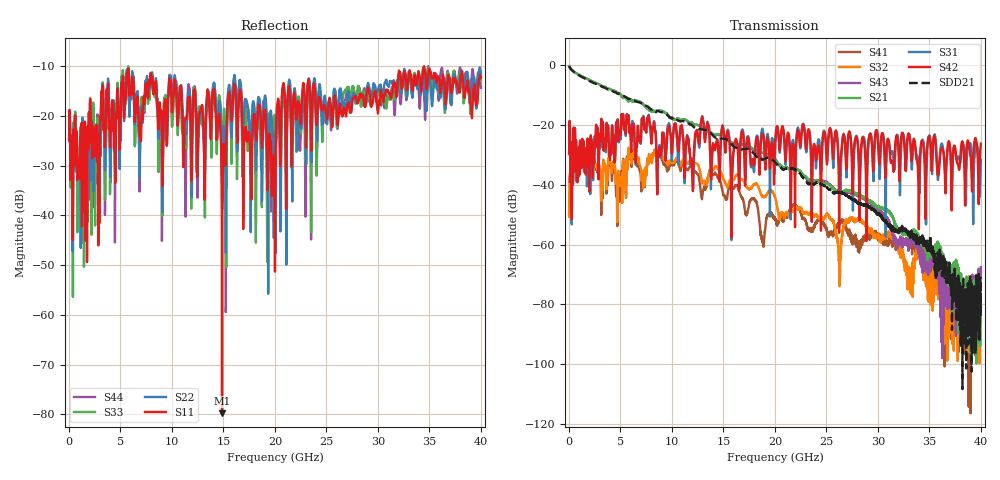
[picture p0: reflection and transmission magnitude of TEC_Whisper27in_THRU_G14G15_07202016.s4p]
! TE Connectivity
! G14G15_THRU
!! PART DESCRIPTION: Whisper 27in Megtron 6 HVLP-HVLP-HVLP Channel Model, bulkhead 2.92mm test points
!! MODEL DESCRIPTION: System 4-port S-parameter
!! MODEL STATUS: Measured
!! MODEL GEOMETRY: Channel Model
!! MODEL FREQUENCY RANGE: DC to 40 GHz in 10 MHz frequency steps
!! MODEL EDGE RATE LIMITATION: 12.5 ps (Using conservative 0.5/Fmax rule of thumb)
!! TIME-DOMAIN TRANSFORM CAUTIONS:
!! 1.) Do not simulate transient edge rates faster than the number listed above.  Edge
!!  rates faster than this number contain significant spectral content at frequencies
!!  above the model's highest frequency.
!! 2.) Even when simulating edge rates that are slower than the number listed above, be
!!  aware that the best time resolution possible with a direct iFFT is (1 / 2Fmax).
!!  As a result, time resolution is typically not adequate for most time-domain
!!  simulations unless tricks such as frequency-domain zero-padding and windowing are
!!  used to minimize leakage and aliasing.
!! 3.) Because the model has a uniform frequency step, a direct iFFT will result in an
!!  impulse that that has a time length given by either (1 / Fstep) or (1 / 2Fstep),
!!  depending on the transform being used.  Care has been taken in selecting the
!!  frequency step to ensure a settled impulse response for the model.  Therefore,
!!  convolution with the model's impulse response should present no issues.  However,
!!  if directly concatenating s-parameter models in the frequency domain a user must
!!  either interpolate necessary interim frequencies or complete impulse response
!!  zero-padding.  Impulse response zero-padding is more difficult, but more accurate.
!! PORT DEFINITIONS:
!! Port  1  ----->  Side A  G14  Side B  <-----  Port  2
!! Port  3  ----->  Side A  G15  Side B  <-----  Port  4
! Point-to-Point link (differential)  !
! Connectors:  !
!  1: STRADA Whisper 3.9mm  !
! Materials:  !
!  Backplane: Megtron-6 HVLP  !
!  Daughtercard: Megtron-6 HVLP  !
! Stack-up:  !
!  Backplane: 20 layers, 190mil thick  !
!  Daughtercard: 14 layers, 110mil thick  !
! Trace Length:  !
!  Backplane: 17in  !
!  Daughtercards: 5in  !
! Trace Width:  !
!  Backplane: 5.75-6.25-5.75 mils  !
!  Daughtercards: 6-9-6 mils  !
! Geometry:  !
!  Backplane: Stripline  !
!  Daughtercards: Stripline  !
! Layer Connections:  !
!  Backplane: Layer 16, counterbored(1-6mil stub)  !
!  Daughtercard: Layer 9, counterbored(1-6mil stub) !
! Freq. Range: 0 GHz - 40 GHz  !
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# hz S ma R 50
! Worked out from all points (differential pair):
!   4000 points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, 10 MHz to 40 GHz, reference 50 ohm
!   strongest paths, dB at 10 MHz, 10.01 GHz, 20.01 GHz, 30.01 GHz, 40 GHz:
!     S42: -29.7, -28.8, -26.8, -26.1, -26.3
!     S31: -29.6, -30.9, -29.3, -24.5, -31.6
!     S21: -0.4, -17.6, -31.1, -47.5, -81.8
!     S43: -0.4, -17.4, -31.6, -48.5, -67.5
!     S32: -50.6, -32.4, -44.3, -57.2, -85.9
!     S41: -50.0, -33.4, -51.2, -57.9, -80.0
!   taken as a pair (ports 1,3 in; 2,4 out), SDD21 dB: -0.3, -17.7, -32.4, -50.0, -70.9
!   lowest |S11| = -79.8 dB at 14.86 GHz (marker M1), VSWR 1.00, Z = 50 - j0.00182 ohm
!   |S11| at or under -10 dB: start of sweep to end of sweep
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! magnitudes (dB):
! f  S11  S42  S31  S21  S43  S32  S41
! 10 MHz  -24.7  -29.7  -29.6  -0.4  -0.4  -50.6  -50.0
! 7.94 GHz  -11.4  -22.9  -21.8  -15.5  -15.2  -30.9  -30.8
! 14.86 GHz  -79.8  -21.1  -20.9  -23.2  -23.4  -36.7  -41.4
! 16.06 GHz  -13.6  -26.1  -26.6  -26.9  -26.9  -38.1  -41.0
! 19.85 GHz  -28.3  -31.1  -27.2  -30.5  -31.1  -42.8  -50.9
! 20.81 GHz  -13.5  -21.3  -21.9  -34.2  -34.6  -49.9  -52.1
! 40 GHz  -12.3  -26.3  -31.6  -81.8  -67.5  -85.9  -80.0
